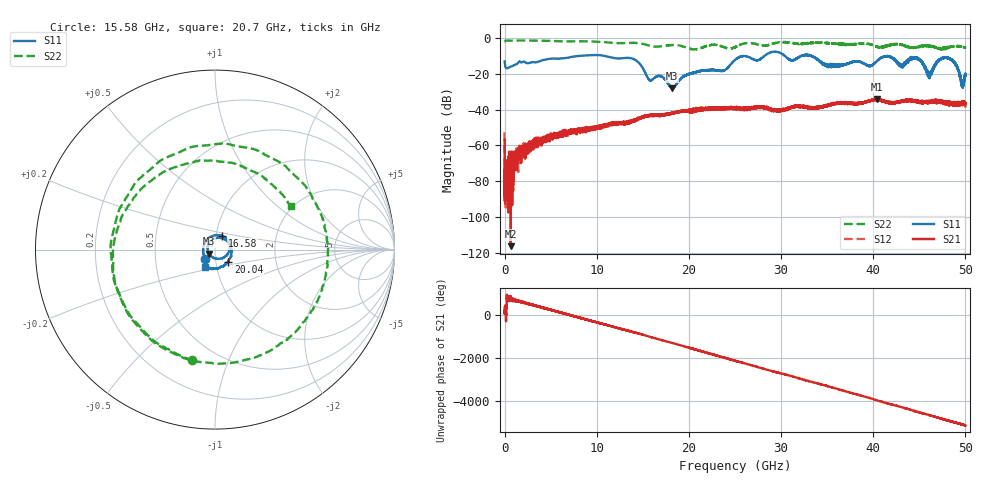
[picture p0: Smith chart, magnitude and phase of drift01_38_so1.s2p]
!Created with skrf (http://scikit-rf.org).
# Hz S RI R 50.0
!freq ReS11 ImS11 ReS21 ImS21 ReS12 ImS12 ReS22 ImS22
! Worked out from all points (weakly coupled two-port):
!   10001 points, 300 kHz to 50 GHz, reference 50 ohm
!   highest |S21| = -33.99 dB at 40.41 GHz (marker M1); lowest = -116.2 dB at 675.3 MHz (marker M2)
!   lowest |S11| = -28.1 dB at 18.15 GHz (marker M3), VSWR 1.08, Z = 46.8 - j2.11 ohm
!   |S11| at or under -10 dB: 10.89 GHz to 26 GHz (15.11 GHz wide, 81.9 % of centre); 33.27 GHz to 41.56 GHz (8.29 GHz wide, 22.2 % of centre); 41.57 GHz to end of sweep (the widest 3 of 13)
!   |S22| runs from -6.5 to -1.4 dB; largest |S21 - S12| = 0.0039
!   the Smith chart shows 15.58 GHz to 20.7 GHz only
!   S11 on the Smith chart (normalised r, x): 15.58 GHz: 0.89, -0.09; 16.58 GHz: 1.07, +0.16; 20.04 GHz: 1.15, -0.16; 20.7 GHz: 0.88, -0.18
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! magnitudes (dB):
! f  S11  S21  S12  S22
! 300 kHz  -13.1  -56.7  -52.6  -2.1
! 255.3 MHz  -16.9  -75.9  -79.3  -1.4
! 675.3 MHz  -16.0  -116.2  -75.4  -1.5
! 2.73 GHz  -13.9  -62.5  -61.3  -1.4
! 8.335 GHz  -9.9  -50.8  -51.8  -1.8
! 13.88 GHz  -11.5  -46.4  -46.2  -2.7
! 15.58 GHz  -22.6  -43.5  -43.1  -4.0
! 16.58 GHz  -21.3  -43.1  -42.8  -4.7
! 16.67 GHz  -21.1  -43.1  -43.3  -4.8
! 18.15 GHz  -28.1  -42.2  -41.8  -3.9
! 20.04 GHz  -19.9  -40.3  -40.1  -5.9
! 20.7 GHz  -19.0  -40.8  -40.4  -6.3
! 25 GHz  -12.2  -38.7  -39.5  -5.1
! 33.34 GHz  -10.1  -38.8  -38.9  -2.7
! 35.23 GHz  -15.2  -37.7  -37.6  -2.9
! 40.41 GHz  -12.8  -34.0  -34.6  -4.9
! 41.67 GHz  -10.3  -35.5  -36.0  -4.2
! 44.8 GHz  -11.4  -35.5  -35.4  -4.9
! 46.1 GHz  -21.2  -35.7  -35.0  -4.3
! 48.07 GHz  -11.1  -36.1  -36.5  -5.1
! 49.64 GHz  -24.2  -36.0  -36.8  -4.7
! 50 GHz  -21.0  -38.1  -36.3  -5.3
